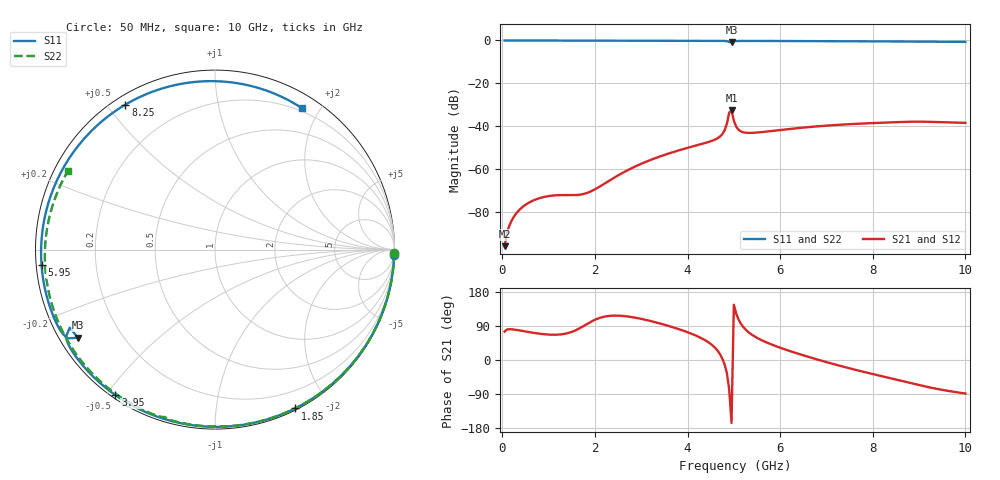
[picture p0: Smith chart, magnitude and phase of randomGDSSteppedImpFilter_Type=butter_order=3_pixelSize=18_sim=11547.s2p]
! freq	dB(S11)	phase(S11)	dB(S12)	phase(S12)
!  dB(S21)	phase(S21)	dB(S22)	phase(S22)
!S-par simulation data
#  GHz  S  DB  R 50
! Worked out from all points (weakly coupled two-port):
!   200 points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, 50 MHz to 10 GHz, reference 50 ohm
!   highest |S21| = -32.68 dB at 4.95 GHz (marker M1); lowest = -96.1 dB at 50 MHz (marker M2)
!   lowest |S11| = -0.8 dB at 4.95 GHz (marker M3), VSWR 20.56, Z = 2.64 - j14.7 ohm
!   |S11| at or under -10 dB: nowhere
!   |S22| runs from -0.6 to 0.0 dB; largest |S21 - S12| = 0
!   S11 on the Smith chart (normalised r, x): 50 MHz: 1, -67; 1.85 GHz: 0.02, -1.62; 3.95 GHz: 0.01, -0.53; 5.95 GHz: 0.02, -0.04; 8.25 GHz: 0.03, +0.56; 10 GHz: 0.16, +1.78
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0.05  -0.01 -1.7  -96.13 75.0  -96.13 75.0  -0.01 -1.2
0.35  -0.02 -12.4  -79.60 78.5  -79.60 78.5  -0.02 -8.2
0.6  -0.03 -21.2  -75.50 73.2  -75.50 73.2  -0.02 -14.0
0.9  -0.04 -31.6  -73.14 68.1  -73.14 68.1  -0.03 -20.9
1.75  -0.07 -60.0  -71.76 89.3  -71.76 89.3  -0.05 -40.3
1.85  -0.08 -63.3  -71.09 96.5  -71.09 96.5  -0.05 -42.5
2.6  -0.10 -86.4  -61.84 116.3  -61.84 116.3  -0.08 -59.0
3.4  -0.13 -109.4  -54.24 96.6  -54.24 96.6  -0.10 -75.9
3.95  -0.15 -124.4  -50.50 75.5  -50.50 75.5  -0.12 -87.2
4.7  -0.21 -144.5  -44.92 15.6  -44.92 15.6  -0.15 -102.2
4.8  -0.25 -147.7  -42.03 -11.5  -42.03 -11.5  -0.16 -104.2
4.9  -0.73 -151.7  -33.70 -78.3  -33.70 -78.3  -0.21 -106.4
4.95  -0.85 -147.2  -32.68 -166.2  -32.68 -166.2  -0.23 -106.8
5.05  -0.27 -151.0  -40.27 122.5  -40.27 122.5  -0.18 -108.8
5.25  -0.23 -156.9  -43.10 80.8  -43.10 80.8  -0.18 -112.8
5.95  -0.26 -175.0  -41.97 34.6  -41.97 34.6  -0.22 -126.2
6.7  -0.31 165.7  -40.32 5.0  -40.32 5.0  -0.27 -140.5
7.5  -0.38 143.9  -39.12 -22.0  -39.12 -22.0  -0.34 -155.8
8.25  -0.45 121.7  -38.40 -44.2  -38.40 -44.2  -0.42 -170.5
8.35  -0.46 118.6  -38.31 -47.1  -38.31 -47.1  -0.43 -172.5
9.25  -0.56 87.9  -38.05 -72.9  -38.05 -72.9  -0.54 168.7
10  -0.68 58.3  -38.50 -88.5  -38.50 -88.5  -0.64 151.9
